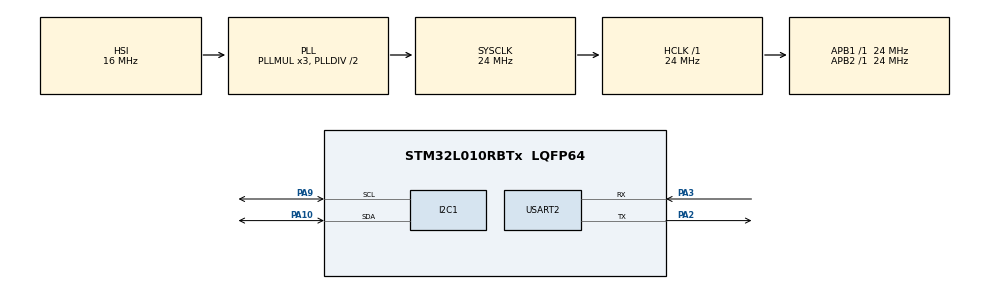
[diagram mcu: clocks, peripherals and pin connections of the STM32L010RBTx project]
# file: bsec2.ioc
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I2C1.Timing=0x00506682
Mcu.Family=STM32L0
Mcu.Name=STM32L010RBTx
Mcu.Package=LQFP64
PA10.Mode=I2C
PA10.Signal=I2C1_SDA
PA2.Mode=Asynchronous
PA2.Signal=USART2_TX
PA3.Mode=Asynchronous
PA3.Signal=USART2_RX
PA9.Mode=I2C
PA9.Signal=I2C1_SCL
ProjectManager.HeapSize=0x400
ProjectManager.StackSize=0x2000
ProjectManager.TargetToolchain=MDK-ARM V5.32
RCC.AHBFreq_Value=24000000
RCC.APB1Freq_Value=24000000
RCC.APB1TimFreq_Value=24000000
RCC.APB2Freq_Value=24000000
RCC.APB2TimFreq_Value=24000000
RCC.HCLKFreq_Value=24000000
RCC.HSE_VALUE=8000000
RCC.HSI16_VALUE=16000000
RCC.HSI_VALUE=16000000
RCC.MSI_VALUE=2097000
RCC.SYSCLKFreq_VALUE=24000000
RCC.SYSCLKSource=RCC_SYSCLKSOURCE_PLLCLK
RCC.VCOOutputFreq_Value=48000000
USART2.VirtualMode-Asynchronous=VM_ASYNC
board=custom

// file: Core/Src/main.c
/* USER CODE BEGIN Header */
/**
  ******************************************************************************
  * @file           : main.c
  * @brief          : Main program body
  ******************************************************************************
  * @attention
  *
  * Copyright (c) 2024 STMicroelectronics.
  * All rights reserved.
  *
  * This software is licensed under terms that can be found in the LICENSE file
  * in the root directory of this software component.
  * If no LICENSE file comes with this software, it is provided AS-IS.
  *
  ******************************************************************************
  */
/* USER CODE END Header */
#include "main.h"
#include "i2c.h"
#include "usart.h"
#include "gpio.h"

/* USER CODE BEGIN Includes */

#include "bsec_integration.h"
#include <stdio.h>
#include <string.h>
#include <stdarg.h>
#include "bsec_selectivity.h"

/* USER CODE END Includes */

/* USER CODE BEGIN PD */

#define BME68X_I2C_ADDRESS BME68X_I2C_ADDR_HIGH

/* USER CODE END PD */

/* USER CODE BEGIN PV */
/* Global sensor APIs data structure */
uint8_t	bsec_mem_block[NUM_OF_SENS][BSEC_INSTANCE_SIZE];
uint8_t *bsecInstance[NUM_OF_SENS];
/* USER CODE END PV */

void SystemClock_Config(void);

/* USER CODE BEGIN 0 */

/**
 * @brief           调试打印函数
 *
 * @param[in]       fmt               格式化字符串
 * @param[in]       ...               可变参数列表
 *
 * @return          �?
 */
void debug_print(const char *fmt, ...) {
    va_list args;
    va_start(args, fmt);

	char buffer[512] = {0};
    vsprintf(buffer, fmt, args);

	HAL_UART_Transmit(&huart2, (uint8_t *)buffer, strlen(buffer), 1000);
    va_end(args);
}

/*!
 * @brief           在Wire或SPI中进行写操作
 *
 * @param[in]        reg_addr        寄存器地�?
 * @param[in]        reg_data_ptr    指向要写入数据的指针
 * @param[in]        data_len        要写入的字节�?
 * @param[in]        intf_ptr        接口指针
 *
 * @return          总线通信函数的结�?
 */
int8_t bus_write(uint8_t reg_addr, const uint8_t *reg_data_ptr, uint32_t data_len, void *intf_ptr)
{
	HAL_StatusTypeDef status = HAL_I2C_Mem_Write(&hi2c1, (BME68X_I2C_ADDRESS << 1), reg_addr,
												I2C_MEMADD_SIZE_8BIT, (uint8_t *)reg_data_ptr, data_len,
												1000);
    return (status == HAL_OK) ? 0 : -1;
}

/*!
 * @brief           在Wire或SPI中进行读操作
 *
 * @param[in]        reg_addr        寄存器地�?
 * @param[out]       reg_data_ptr    指向用于存储读取数据的内存的指针
 * @param[in]        data_len        要读取的字节�?
 * @param[in]        intf_ptr        接口指针
 *
 * @return          总线通信函数的结�?
 */
int8_t bus_read(uint8_t reg_addr, uint8_t *reg_data_ptr, uint32_t data_len, void *intf_ptr)
{
	HAL_StatusTypeDef status = HAL_I2C_Mem_Read(&hi2c1, ((BME68X_I2C_ADDRESS << 1) | 0x01), reg_addr,
												I2C_MEMADD_SIZE_8BIT, (uint8_t *)reg_data_ptr, data_len,
												1000);
    return (status == HAL_OK) ? 0 : -1;
}

/*!
 * @brief           系统特定的睡眠函数实�?
 *
 * @param[in]       t_us     微秒为单位的时间
 * @param[in]       intf_ptr 接口描述符的指针
 *
 * @return          �?
 */
void sleep_n(uint32_t t_us, void *intf_ptr)
{
	if (t_us % 1000 > 500) {
		HAL_Delay(t_us / 1000 + 1);
	} else {
		HAL_Delay(t_us / 1000);
	}
}

static uint32_t overflowCounter;
static uint32_t lastTimeMS;

/*!
 * @brief           获取系统时间（以微秒为单位）
 *
 * @return          system_current_time    当前系统时间戳（以微秒为单位�?
 */
int64_t get_timestamp_us()
{
    int64_t timeMs = HAL_GetTick() * 1000;

    if (lastTimeMS > timeMs) /* An overflow occurred */
    {
        overflowCounter++;
    }
    lastTimeMS = timeMs;

    return timeMs + (overflowCounter * INT64_C(0xFFFFFFFF));
}

/*!
 * @brief           处理准备就绪的输�?
 *
 * @param[in]       outputs               	output_t结构�?
 * @param[in]       bsec_status             bsec_do_steps()调用返回的�??
 *
 * @return          �?
 */
void output_ready(output_t *outputs, bsec_library_return_t bsec_status)
{
	float timestamp_ms = outputs->timestamp / 1e6;

	debug_print("%d,", outputs->sens_no);
	debug_print("%d,", (int)timestamp_ms);

	#if (OUTPUT_MODE == CLASSIFICATION || OUTPUT_MODE == REGRESSION)
	debug_print("%f,", outputs->gas_estimate_1);
	debug_print("%f,", outputs->gas_estimate_2);
	debug_print("%f,", outputs->gas_estimate_3);
	debug_print("%f,", outputs->gas_estimate_4);
	debug_print("%d,", outputs->gas_accuracy_1);
	debug_print("%d,", outputs->gas_accuracy_2);
	debug_print("%d,", outputs->gas_accuracy_3);
	debug_print("%d,", outputs->gas_accuracy_4);
	debug_print("%f,", outputs->raw_pressure);
	debug_print("%f,", outputs->raw_temp);
	debug_print("%f,", outputs->raw_humidity);
	debug_print("%f,", outputs->raw_gas);
	debug_print("%d,", outputs->raw_gas_index);
	#elif (OUTPUT_MODE == IAQ)
	debug_print("%f,", outputs->iaq);
	output += String(outputs->iaq_accuracy) + ", ";
	output += String(outputs->static_iaq) + ", ";
	output += String(outputs->raw_temp) + ", ";
	output += String(outputs->raw_humidity) + ", ";
	output += String(outputs->temperature) + ", ";
	output += String(outputs->humidity) + ", ";
	output += String(outputs->raw_pressure) + ", ";
	output += String(outputs->raw_gas) + ", ";
	output += String(outputs->gas_percentage) + ", ";
	output += String(outputs->co2_equivalent) + ", ";
	output += String(outputs->breath_voc_equivalent) + ", ";
	output += String(outputs->stabStatus) + ", ";
	output += String(outputs->runInStatus) + ", ";
	#endif

	debug_print("%d,", bsec_status);
	debug_print("\r\n");
}

/*!
 * @brief           从非易失性存储器加载先前的库状�??
 *
 * @param[in,out]   state_buffer    用于保存加载状�?�字符串的缓冲区
 * @param[in]       n_buffer        分配的状态缓冲区大小
 *
 * @return          复制到state_buffer的字节数
 */
uint32_t state_load(uint8_t *state_buffer, uint32_t n_buffer)
{
    // ...
    // 如果可用,从非易失性存储器加载先前的库状�?��??
    //
    // 如果加载失败或没有可用状态则返回�?,
    // 否则返回加载的状态字符串长度�?
    // ...
    return 0;
}

/*!
 * @brief           将库状�?�保存到非易失�?�存储器
 *
 * @param[in]       state_buffer    保存要存储状态的缓冲�?
 * @param[in]       length          要存储的状�?�字符串长度
 *
 * @return          �?
 */
void state_save(const uint8_t *state_buffer, uint32_t length)
{
    // ...
    // 如果可能,将字符串保存到某种形式的非易失�?�存储器�?
    // ...
}

/*!
 * @brief           从非易失性存储器加载库配�?
 *
 * @param[in,out]   config_buffer    用于保存加载状�?�字符串的缓冲区
 * @param[in]       n_buffer        分配的状态缓冲区大小
 *
 * @return          复制到config_buffer的字节数
 */
uint32_t config_load(uint8_t *config_buffer, uint32_t n_buffer)
{
	memcpy(config_buffer, bsec_config_selectivity, n_buffer);
    return n_buffer;
}

/* USER CODE END 0 */

int main(void)
{

  /* MCU Configuration--------------------------------------------------------*/

  /* Reset of all peripherals, Initializes the Flash interface and the Systick. */
  HAL_Init();

  /* Configure the system clock */
  SystemClock_Config();

  /* Initialize all configured peripherals */
  MX_GPIO_Init();
  MX_I2C1_Init();
  MX_USART2_UART_Init();
  /* USER CODE BEGIN 2 */

	HAL_Delay(1000);
	debug_print("Starting...\r\n");

    struct bme68x_dev bme_dev;
	memset(&bme_dev, 0, sizeof(bme_dev));
	bme_dev.intf = BME68X_I2C_INTF;
	bme_dev.write = bus_write;
	bme_dev.read = bus_read;
	bme_dev.delay_us = sleep_n;
	bme_dev.intf_ptr = NULL;
	bme_dev.amb_temp = 25;

	/* 分配内存块给bsecInstance */
	allocateMemory(bsec_mem_block[0], 0);

    /* 调用初始化BSEC库的函数
     * �?启低功�?�模式并且不提供温度偏移 */
    return_values_init ret = bsec_iot_init(SAMPLE_RATE, 0.0f, bus_write, bus_read, sleep_n, state_load, config_load, bme_dev, 0);

    if (ret.bme68x_status) {
        /* 无法初始化BME68x */
		debug_print("ERROR while initializing BME68x: %d\r\n", ret.bme68x_status);
        return (int)ret.bme68x_status;
    } else if (ret.bsec_status < BSEC_OK) {
        /* 无法初始化BSEC库 */
		debug_print("ERROR while initializing BSEC library: %d\r\n", ret.bsec_status);
        return (int)ret.bsec_status;
    } else if (ret.bsec_status > BSEC_OK) {
		debug_print("WARNING while initializing BSEC library: %d\r\n", ret.bsec_status);
        return (int)ret.bsec_status;
    }

    bsec_version_t version;
	bsec_get_version_m(bsecInstance, &version);
	debug_print("BSEC library version %d.%d.%d.%d\r\n", version.major, version.minor, version.major_bugfix, version.minor_bugfix);

	#if (OUTPUT_MODE == CLASSIFICATION || OUTPUT_MODE == REGRESSION)
		debug_print("Sensor_No, Time(ms), Class/Target_1_prediction, Class/Target_2_prediction,"
					 "Class/Target_3_prediction, Class/Target_4_prediction, Prediction_accuracy_1,"
					 "Prediction_accuracy_2, Prediction_accuracy_3, Prediction_accuracy_4,"
					 "Raw_pressure(Pa), Raw_Temperature(degC),  Raw_Humidity(%rH), Raw_Gas(ohm),"
					 "Raw_Gas_Index(num), Bsec_status\r\n");
	#elif (OUTPUT_MODE == IAQ)
		debug_print("Sensor_No, Time(ms), IAQ, IAQ_accuracy, Static_IAQ, Raw_Temperature(degC),"
					 "Raw_Humidity(%rH), Comp_Temperature(degC),  Comp_Humidity(%rH),"
					 "Raw_pressure(Pa), Raw_Gas(ohms), Gas_percentage, CO2, bVOC,"
					 "Stabilization_status, Run_in_status, Bsec_status\r\n");
	#endif

    /* 调用无限循环函数，基于传感器设置读取和处理数�? */
    /* �?10,000个样本保存一次状态，即每10,000 * 3�? = 500分钟保存�?�? */
    bsec_iot_loop(sleep_n, get_timestamp_us, output_ready, state_save, 10000);
  /* USER CODE END 2 */

  /* Infinite loop */
	while (1)
	{

	}
}

void SystemClock_Config(void)
{
  RCC_OscInitTypeDef RCC_OscInitStruct = {0};
  RCC_ClkInitTypeDef RCC_ClkInitStruct = {0};
  RCC_PeriphCLKInitTypeDef PeriphClkInit = {0};

  /** Configure the main internal regulator output voltage
  */
  __HAL_PWR_VOLTAGESCALING_CONFIG(PWR_REGULATOR_VOLTAGE_SCALE1);

  /** Initializes the RCC Oscillators according to the specified parameters
  * in the RCC_OscInitTypeDef structure.
  */
  RCC_OscInitStruct.OscillatorType = RCC_OSCILLATORTYPE_HSI;
  RCC_OscInitStruct.HSIState = RCC_HSI_ON;
  RCC_OscInitStruct.HSICalibrationValue = RCC_HSICALIBRATION_DEFAULT;
  RCC_OscInitStruct.PLL.PLLState = RCC_PLL_ON;
  RCC_OscInitStruct.PLL.PLLSource = RCC_PLLSOURCE_HSI;
  RCC_OscInitStruct.PLL.PLLMUL = RCC_PLLMUL_3;
  RCC_OscInitStruct.PLL.PLLDIV = RCC_PLLDIV_2;
  if (HAL_RCC_OscConfig(&RCC_OscInitStruct) != HAL_OK)
  {
    Error_Handler();
  }

  /** Initializes the CPU, AHB and APB buses clocks
  */
  RCC_ClkInitStruct.ClockType = RCC_CLOCKTYPE_HCLK|RCC_CLOCKTYPE_SYSCLK
                              |RCC_CLOCKTYPE_PCLK1|RCC_CLOCKTYPE_PCLK2;
  RCC_ClkInitStruct.SYSCLKSource = RCC_SYSCLKSOURCE_PLLCLK;
  RCC_ClkInitStruct.AHBCLKDivider = RCC_SYSCLK_DIV1;
  RCC_ClkInitStruct.APB1CLKDivider = RCC_HCLK_DIV1;
  RCC_ClkInitStruct.APB2CLKDivider = RCC_HCLK_DIV1;

  if (HAL_RCC_ClockConfig(&RCC_ClkInitStruct, FLASH_LATENCY_1) != HAL_OK)
  {
    Error_Handler();
  }
  PeriphClkInit.PeriphClockSelection = RCC_PERIPHCLK_USART2|RCC_PERIPHCLK_I2C1;
  PeriphClkInit.Usart2ClockSelection = RCC_USART2CLKSOURCE_PCLK1;
  PeriphClkInit.I2c1ClockSelection = RCC_I2C1CLKSOURCE_PCLK1;
  if (HAL_RCCEx_PeriphCLKConfig(&PeriphClkInit) != HAL_OK)
  {
    Error_Handler();
  }
}

void Error_Handler(void)
{
	__disable_irq();
	while (1)
	{
	}
}
